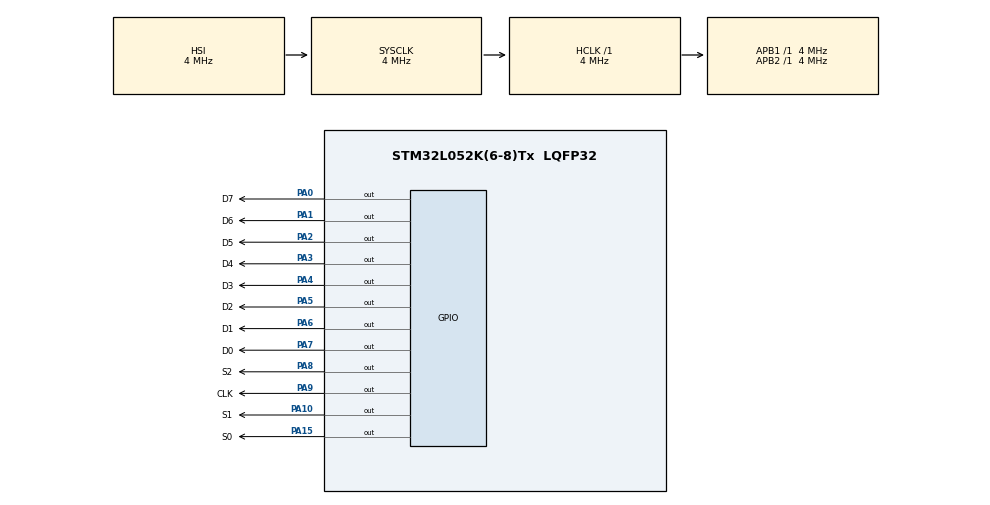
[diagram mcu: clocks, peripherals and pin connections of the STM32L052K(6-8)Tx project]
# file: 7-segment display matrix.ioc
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Mcu.Family=STM32L0
Mcu.Name=STM32L052K(6-8)Tx
Mcu.Package=LQFP32
NVIC.TIM6_DAC_IRQn=true\:0\:0\:false\:false\:true\:true\:true
PA0.GPIO_Label=D7
PA0.Signal=GPIO_Output
PA1.GPIO_Label=D6
PA1.Signal=GPIO_Output
PA10.GPIO_Label=S1
PA10.Signal=GPIO_Output
PA15.GPIO_Label=S0
PA15.Signal=GPIO_Output
PA2.GPIO_Label=D5
PA2.Signal=GPIO_Output
PA3.GPIO_Label=D4
PA3.Signal=GPIO_Output
PA4.GPIO_Label=D3
PA4.Signal=GPIO_Output
PA5.GPIO_Label=D2
PA5.Signal=GPIO_Output
PA6.GPIO_Label=D1
PA6.Signal=GPIO_Output
PA7.GPIO_Label=D0
PA7.Signal=GPIO_Output
PA8.GPIO_Label=S2
PA8.Signal=GPIO_Output
PA9.GPIO_Label=CLK
PA9.Signal=GPIO_Output
ProjectManager.HeapSize=0x200
ProjectManager.StackSize=0x400
ProjectManager.TargetToolchain=MDK-ARM V5.27
RCC.ADCFreq_Value=4000000
RCC.AHBFreq_Value=4000000
RCC.APB1Freq_Value=4000000
RCC.APB1TimFreq_Value=4000000
RCC.APB2Freq_Value=4000000
RCC.APB2TimFreq_Value=4000000
RCC.HCLKFreq_Value=4000000
RCC.HSI16_VALUE=16000000
RCC.HSI48_VALUE=48000000
RCC.HSIRCDiv=4
RCC.HSI_VALUE=4000000
RCC.LSE_VALUE=32768
RCC.MSI_VALUE=2097000
RCC.SYSCLKFreq_VALUE=4000000
RCC.SYSCLKSource=RCC_SYSCLKSOURCE_HSI
RCC.VCOOutputFreq_Value=12000000
TIM6.Period=99
TIM6.Prescaler=39
VP_TIM6_VS_ClockSourceINT.Mode=Enable_Timer
board=custom

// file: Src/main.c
/* USER CODE BEGIN Header */
/**
  ******************************************************************************
  * @file           : main.c
  * @brief          : Main program body
  ******************************************************************************
  * @attention
  *
  * <h2><center>&copy; Copyright (c) 2021 STMicroelectronics.
  * All rights reserved.</center></h2>
  *
  * This software component is licensed by ST under BSD 3-Clause license,
  * the "License"; You may not use this file except in compliance with the
  * License. You may obtain a copy of the License at:
  *                        opensource.org/licenses/BSD-3-Clause
  *
  ******************************************************************************
  */
/* USER CODE END Header */

#include "main.h"
#include "tim.h"
#include "gpio.h"

/* USER CODE BEGIN PV */
uint8_t segmentA = 0;
uint8_t segmentB = 0;
uint8_t segmentC = 0;
uint8_t segmentD = 0;
uint8_t segmentE = 0;
uint8_t segmentF = 0;
uint8_t segmentG = 0;

uint8_t numbers[10][7] = {
	{1,1,1,1,1,1,0},
	{0,1,1,0,0,0,0},
	{1,1,0,1,1,0,1},
	{1,1,1,1,0,0,1},
	{0,1,1,0,0,1,1},
	{1,0,1,1,0,1,1},
	{1,0,1,1,1,1,1},
	{1,1,1,0,0,0,0},
	{1,1,1,1,1,1,1},
	{1,1,1,1,0,1,1}
};

/* USER CODE END PV */

void SystemClock_Config(void);
/* USER CODE BEGIN PFP */
void sendNumberToDisplay(uint8_t, uint8_t);
/* USER CODE END PFP */

int main(void)
{

  /* MCU Configuration--------------------------------------------------------*/

  /* Reset of all peripherals, Initializes the Flash interface and the Systick. */
  HAL_Init();

  /* Configure the system clock */
  SystemClock_Config();

  /* Initialize all configured peripherals */
  MX_GPIO_Init();
  MX_TIM6_Init();
  /* USER CODE BEGIN 2 */
	HAL_TIM_Base_Start_IT(&htim6);
	uint8_t segment = 1;
  /* USER CODE END 2 */

  /* Infinite loop */
  while (1)
  {

    /* USER CODE BEGIN 3 */

		switch(segment) {
			case 0:
				sendNumberToDisplay(segmentG, segment);
				segment = 1;
				break;
			case 1:
				sendNumberToDisplay(segmentF, segment);
				segment = 2;
				break;
			case 2:
				sendNumberToDisplay(segmentE, segment);
				segment = 3;
				break;
			case 3:
				sendNumberToDisplay(segmentD, segment);
				segment = 4;
				break;
			case 4:
				sendNumberToDisplay(segmentC, segment);
				segment = 5;
				break;
			case 5:
				sendNumberToDisplay(segmentB, segment);
				segment = 6;
				break;
			case 6:
				sendNumberToDisplay(segmentA, segment);
				segment = 0;
		}
  }
  /* USER CODE END 3 */
}

void SystemClock_Config(void)
{
  RCC_OscInitTypeDef RCC_OscInitStruct = {0};
  RCC_ClkInitTypeDef RCC_ClkInitStruct = {0};

  /** Configure the main internal regulator output voltage
  */
  __HAL_PWR_VOLTAGESCALING_CONFIG(PWR_REGULATOR_VOLTAGE_SCALE1);
  /** Initializes the CPU, AHB and APB busses clocks
  */
  RCC_OscInitStruct.OscillatorType = RCC_OSCILLATORTYPE_HSI;
  RCC_OscInitStruct.HSIState = RCC_HSI_DIV4;
  RCC_OscInitStruct.HSICalibrationValue = RCC_HSICALIBRATION_DEFAULT;
  RCC_OscInitStruct.PLL.PLLState = RCC_PLL_NONE;
  if (HAL_RCC_OscConfig(&RCC_OscInitStruct) != HAL_OK)
  {
    Error_Handler();
  }
  /** Initializes the CPU, AHB and APB busses clocks
  */
  RCC_ClkInitStruct.ClockType = RCC_CLOCKTYPE_HCLK|RCC_CLOCKTYPE_SYSCLK
                              |RCC_CLOCKTYPE_PCLK1|RCC_CLOCKTYPE_PCLK2;
  RCC_ClkInitStruct.SYSCLKSource = RCC_SYSCLKSOURCE_HSI;
  RCC_ClkInitStruct.AHBCLKDivider = RCC_SYSCLK_DIV1;
  RCC_ClkInitStruct.APB1CLKDivider = RCC_HCLK_DIV1;
  RCC_ClkInitStruct.APB2CLKDivider = RCC_HCLK_DIV1;

  if (HAL_RCC_ClockConfig(&RCC_ClkInitStruct, FLASH_LATENCY_0) != HAL_OK)
  {
    Error_Handler();
  }
}

/* USER CODE BEGIN 4 */
void sendNumberToDisplay(uint8_t number, uint8_t segment)
{
	HAL_GPIO_WritePin(CLK_GPIO_Port, CLK_Pin, GPIO_PIN_RESET);

	HAL_GPIO_WritePin(D0_GPIO_Port, D0_Pin, (numbers[number][0] == 1 ? GPIO_PIN_SET: GPIO_PIN_RESET));
	HAL_GPIO_WritePin(D1_GPIO_Port, D1_Pin, (numbers[number][1] == 1 ? GPIO_PIN_SET: GPIO_PIN_RESET));
	HAL_GPIO_WritePin(D2_GPIO_Port, D2_Pin, (numbers[number][2] == 1 ? GPIO_PIN_SET: GPIO_PIN_RESET));
	HAL_GPIO_WritePin(D3_GPIO_Port, D3_Pin, (numbers[number][3] == 1 ? GPIO_PIN_SET: GPIO_PIN_RESET));
	HAL_GPIO_WritePin(D4_GPIO_Port, D4_Pin, (numbers[number][4] == 1 ? GPIO_PIN_SET: GPIO_PIN_RESET));
	HAL_GPIO_WritePin(D5_GPIO_Port, D5_Pin, (numbers[number][5] == 1 ? GPIO_PIN_SET: GPIO_PIN_RESET));
	HAL_GPIO_WritePin(D6_GPIO_Port, D6_Pin, (numbers[number][6] == 1 ? GPIO_PIN_SET: GPIO_PIN_RESET));
	if (segment == 1 || segment == 3)
	{
		HAL_GPIO_WritePin(D7_GPIO_Port, D7_Pin, GPIO_PIN_SET);
	}
	else
	{
		HAL_GPIO_WritePin(D7_GPIO_Port, D7_Pin, GPIO_PIN_RESET);
	}

	HAL_GPIO_WritePin(S0_GPIO_Port, S0_Pin, ((segment & 0x01) == 0x01 ? GPIO_PIN_SET: GPIO_PIN_RESET));
	HAL_GPIO_WritePin(S1_GPIO_Port, S1_Pin, ((segment & 0x02) == 0x02 ? GPIO_PIN_SET: GPIO_PIN_RESET));
	HAL_GPIO_WritePin(S2_GPIO_Port, S2_Pin, ((segment & 0x04) == 0x04 ? GPIO_PIN_SET: GPIO_PIN_RESET));

	HAL_GPIO_WritePin(CLK_GPIO_Port, CLK_Pin, GPIO_PIN_SET);
	HAL_Delay(1);
	HAL_GPIO_WritePin(CLK_GPIO_Port, CLK_Pin, GPIO_PIN_RESET);

}

void HAL_TIM_PeriodElapsedCallback(TIM_HandleTypeDef *htim)
{
	segmentA++;

	if (segmentA >= 10) {
			segmentA = 0;
			segmentB++;
	}

	if (segmentB >= 10) {
			segmentB = 0;
			segmentC++;
	}

	if (segmentC >= 10) {
			segmentC = 0;
			segmentD++;
	}

	if (segmentD >= 10) {
			segmentD = 0;
			segmentE++;
	}

	if (segmentE >= 6) {
			segmentE = 0;
			segmentF++;
	}

	if (segmentF >= 10) {
			segmentF = 0;
			segmentG++;
	}

	if (segmentG >= 6) {
			segmentG = 0;
	}

}
/* USER CODE END 4 */

void Error_Handler(void)
{
}

/************************ (C) COPYRIGHT STMicroelectronics *****END OF FILE****/
